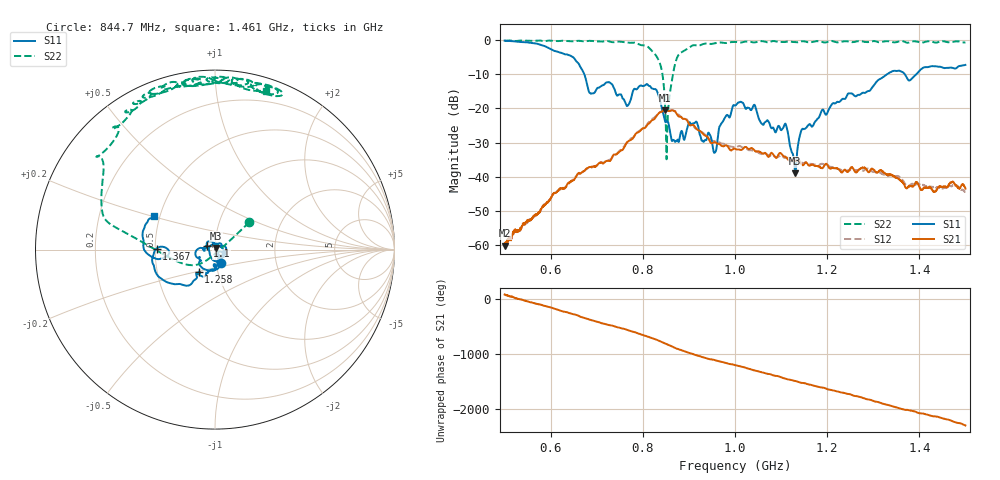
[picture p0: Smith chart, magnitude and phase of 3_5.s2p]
!Agilent Technologies,E8364B,US42250235,A.06.04.32
!Agilent E8364B: A.06.04.32
!Date: Thursday, October 01, 2020 11:15:57
!Correction: S11(Full 2 Port(1,2)) S21(Full 2 Port(1,2)) S12(Full 2 Port(1,2)) S22(Full 2 Port(1,2))
!S2P File: Measurements: S11, S21, S12, S22:
# Hz S  dB  R 50
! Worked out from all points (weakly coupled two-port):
!   2650 points, 500 MHz to 1.5 GHz, reference 50 ohm
!   highest |S21| = -20.53 dB at 847.7 MHz (marker M1); lowest = -60.1 dB at 500.8 MHz (marker M2)
!   lowest |S11| = -38.9 dB at 1.131 GHz (marker M3), VSWR 1.02, Z = 50.6 + j0.972 ohm
!   |S11| at or under -10 dB: 672.9 MHz to 1.33 GHz (657.4 MHz wide, 65.6 % of centre); 1.368 GHz to 1.394 GHz (25.69 MHz wide, 1.86 % of centre)
!   |S22| runs from -34.9 to -0.1 dB; largest |S21 - S12| = 0.0085
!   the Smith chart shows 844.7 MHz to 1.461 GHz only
!   S11 on the Smith chart (normalised r, x): 844.7 MHz: 1.06, -0.16; 1.1 GHz: 0.91, +0.04; 1.258 GHz: 0.81, -0.21; 1.367 GHz: 0.51, +0.01; 1.461 GHz: 0.46, +0.21
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5e8  -0.20 -175.5  -59.87 71.9  -60.29 69.6  -0.25 136.4
5.00755e8  -0.21 -175.9  -60.13 69.3  -59.59 65.3  -0.26 136.3
5.872027e8  -1.80 127.7  -48.31 -134.9  -48.22 -136.2  -0.37 129.1
6.668554e8  -8.42 58.5  -38.84 25.7  -38.98 27.5  -0.34 121.2
6.87618e8  -15.71 70.3  -37.12 -29.4  -37.39 -26.4  -0.26 117.0
7.831257e8  -14.29 66.3  -27.70 109.4  -27.84 112.5  -0.81 97.1
8.337108e8  -16.07 -42.3  -21.52 -38.4  -21.45 -36.4  -5.77 50.9
8.446584e8  -21.79 -66.0  -20.60 -79.8  -20.51 -76.5  -12.23 38.5
8.476784e8  -23.54 -72.9  -20.53 -91.5  -20.46 -88.1  -17.43 34.4
8.537184e8  -23.83 -88.7  -20.76 -113.5  -20.61 -109.7  -23.79 -124.9
8.82031e8  -27.21 54.3  -22.44 151.9  -22.36 152.9  -3.76 163.4
9.14496e8  -24.06 -28.5  -25.74 59.2  -25.91 63.3  -1.56 141.5
9.560211e8  -32.91 -48.0  -29.88 -32.0  -29.56 -30.5  -0.98 121.7
1.000189e9  -19.19 -96.3  -31.79 -123.3  -31.46 -124.8  -0.57 118.9
1.100227e9  -26.34 156.7  -33.16 14.6  -33.72 18.2  -0.59 103.7
1.130804e9  -38.94 58.2  -35.37 -49.8  -35.14 -49.1  -0.67 101.1
1.166667e9  -25.35 -72.5  -36.38 -123.8  -36.24 -125.1  -0.62 95.3
1.257644e9  -16.13 -126.0  -37.86 43.4  -38.06 44.0  -0.62 86.6
1.333522e9  -9.70 -147.1  -39.33 -126.1  -39.60 -123.7  -0.36 83.3
1.366742e9  -9.75 179.0  -42.15 154.2  -41.55 156.6  -0.47 83.1
1.46074e9  -8.17 151.1  -43.08 -24.4  -43.15 -26.4  -0.64 72.2
1.5e9  -7.30 142.4  -43.46 -133.0  -44.33 -126.1  -0.72 61.0
